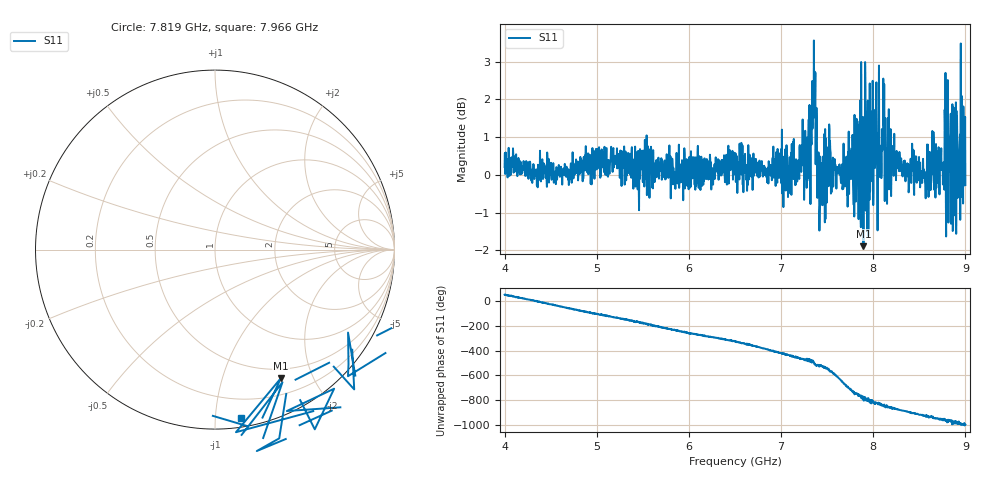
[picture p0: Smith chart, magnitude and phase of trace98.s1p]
! Created with skrf 1.8.0 (http://scikit-rf.org).
# Hz S RI R 50.0
!freq ReS11 ImS11
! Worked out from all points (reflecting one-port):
!   1601 points, 4 GHz to 9 GHz, reference 50 ohm
!   lowest |S11| = -1.9 dB at 7.894 GHz (marker M1), VSWR 9.23, Z = 19.3 - j78.5 ohm
!   phase of S11 starts at 51 deg and turns -1048 deg over the sweep
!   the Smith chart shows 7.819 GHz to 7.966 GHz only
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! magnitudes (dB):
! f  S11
! 4 GHz  0.2
! 4.625 GHz  -0.3
! 5.25 GHz  -0.1
! 5.875 GHz  0.0
! 6.5 GHz  0.0
! 7.125 GHz  0.5
! 7.269 GHz  0.3
! 7.362 GHz  2.7
! 7.4 GHz  -0.3
! 7.438 GHz  -0.2
! 7.512 GHz  0.4
! 7.691 GHz  0.2
! 7.75 GHz  0.6
! 7.875 GHz  -0.1
! 7.894 GHz  -1.9
! 7.959 GHz  -0.7
! 8.038 GHz  0.7
! 8.066 GHz  0.3
! 8.119 GHz  2.4
! 8.197 GHz  0.0
! 8.375 GHz  0.0
! 8.578 GHz  -0.2
! 8.8 GHz  0.2
! 8.869 GHz  -0.6
! 8.897 GHz  1.9
! 8.919 GHz  -0.1
! 8.972 GHz  0.4
! 9 GHz  -0.3
